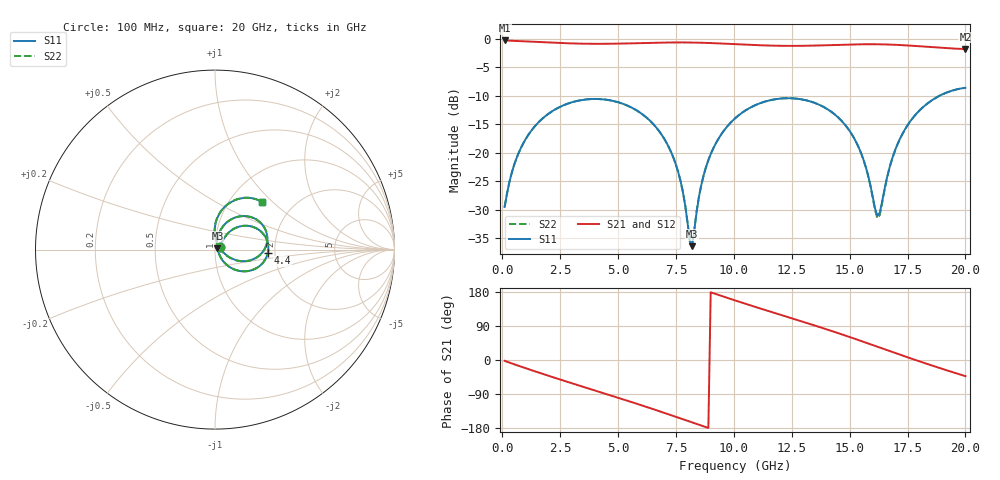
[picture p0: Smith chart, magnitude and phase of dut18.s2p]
! Touchstone file exported from HFSS 2026.1.0
!  File:  C:/ffzhzh/LocalFiles/Ansys_Project_Files/temp_train_TSV_RDL_18_1782962253_15332.aedt
!  Generated:  11:28:33 AM Jul  2, 2026
!  Design:  TSV_RDL
!  Project:  temp_train_TSV_RDL_18_1782962253_15332
! Variables:
!  h_bsmrdl = 2.08um
!  h_ox = 20um
!  h_rdl = 5um
!  h_sub = 77.59um
!  h_tmrdl = 5.68um
!  h_tsv = 77.59um
!  h_via = 3um
!  l_bsmrdl = 790.24um
!  l_sub = 6771.71um
!  l_tmrdl = 966.19um
!  m_sub = 200um
!  pitch = 34.24um
!  r_tsv = 8um
!  s_tmrdl = 10um
!  w_bsmrdl = 28.83um
!  w_sub = 500um
!  w_tmrdl = 16.58um
!  x_tsv_center1 = 974.48um
!  x_tsv_center2 = 1793.55um
!  x_tsv_center3 = 2776.32um
!  x_tsv_center4 = 3595.39um
!  x_tsv_center5 = 4578.16um
!  x_tsv_center6 = 5397.23um
# GHz S MA R 50.000000
! Terminal data exported
! Port[1] = TM_RDL1_1_T1
! Port[2] = TM_RDL5_1_T1
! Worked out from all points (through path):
!   200 points, 100 MHz to 20 GHz, reference 50 ohm
!   highest |S21| = -0.26 dB at 100 MHz (marker M1); lowest = -1.8 dB at 20 GHz (marker M2)
!   group delay of S21, straight-line fit = 55.7 ps
!   lowest |S11| = -36.4 dB at 8.2 GHz (marker M3), VSWR 1.03, Z = 51.4 + j0.677 ohm
!   |S11| at or under -10 dB: start of sweep to 18.87 GHz
!   |S22| runs from -36.1 to -8.6 dB; largest |S21 - S12| = 1.6e-14
!   S11 on the Smith chart (normalised r, x): 100 MHz: 1.06, +0.03; 4.4 GHz: 1.83, -0.08; 20 GHz: 1.41, +0.86
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0.1  0.03356 25.3  0.9701 -2.3  0.9701 -2.3  0.03356 25.3
! Gamma 0 0 0 0
! Port Impedance 50 0 50 0
0.5  0.07718 50.9  0.9614 -11.0  0.9614 -11.0  0.07718 50.9
1.2  0.1515 48.4  0.947 -25.6  0.947 -25.6  0.1515 48.4
3.5  0.2925 11.6  0.9089 -70.8  0.9089 -70.8  0.2925 11.7
4.4  0.2945 -4.0  0.9067 -88.0  0.9067 -88.0  0.2945 -4.0
5.6  0.249 -25.3  0.9155 -111.3  0.9155 -111.3  0.249 -25.2
6.8  0.1526 -46.1  0.9284 -135.5  0.9284 -135.5  0.1525 -46.0
7.6  0.06757 -55.0  0.9322 -152.1  0.9322 -152.1  0.06759 -54.6
8.1  0.01661 -15.5  0.9309 -162.6  0.9309 -162.6  0.017 -14.4
8.2  0.0152 25.7  0.9302 -164.7  0.9302 -164.7  0.01571 25.5
8.5  0.04183 73.9  0.9275 -171.0  0.9275 -171.0  0.04211 73.3
8.9  0.08632 76.7  0.9223 -179.3  0.9223 -179.3  0.08651 76.3
10.1  0.205 59.1  0.8995 156.3  0.8995 156.3  0.2052 58.9
11.8  0.2961 29.5  0.8723 123.4  0.8723 123.4  0.2962 29.3
13.4  0.279 1.8  0.8739 92.9  0.8739 92.9  0.2791 1.5
15.2  0.1339 -26.3  0.8959 56.5  0.8959 56.5  0.1338 -26.8
15.7  0.07507 -26.5  0.899 45.9  0.899 45.9  0.07475 -27.5
16.2  0.02802 25.2  0.8984 35.1  0.8984 35.1  0.02669 24.5
16.7  0.07144 88.4  0.8934 24.3  0.8934 24.3  0.07078 89.3
17.2  0.1365 89.4  0.8843 13.5  0.8843 13.5  0.1361 90.0
17.9  0.2226 80.2  0.8661 -1.2  0.8661 -1.2  0.2224 80.5
20  0.3725 44.9  0.8159 -42.6  0.8159 -42.6  0.3724 45.1
